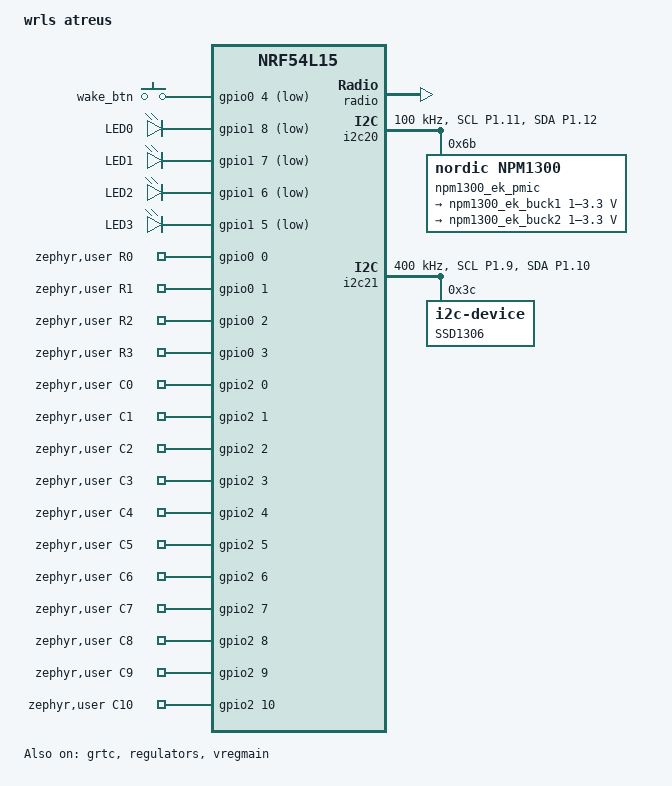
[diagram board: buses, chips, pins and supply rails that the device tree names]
/dts-v1/;
#include <nordic/nrf54l15_cpuapp.dtsi>
#include "wrls_atreus_v1_0-pinctrl.dtsi"

#include <dt-bindings/regulator/npm1300.h>
#include <zephyr/dt-bindings/input/input-event-codes.h>


/ {
	model = "wrls atreus";
	compatible = "paul_klinger,wrls-atreus-v1-0-cpuapp";

	chosen {
		zephyr,code-partition = &slot0_partition;
		zephyr,sram = &cpuapp_sram;
		zephyr,flash = &cpuapp_rram;
		zephyr,console = &uart22;
	};

	buttons {
		compatible = "gpio-keys";
		wakebtn: wake_btn {
			gpios = <&gpio0 4 (GPIO_ACTIVE_LOW | GPIO_PULL_UP)>;
			label = "wake_btn";
		};
	};

	leds {
		compatible = "gpio-leds";
		led0: led0 {
			gpios = <&gpio1 8 GPIO_ACTIVE_LOW>;
			label = "LED0";
		};

		led1: led1 {
			gpios = <&gpio1 7 GPIO_ACTIVE_LOW>;
			label = "LED1";
		};

		led2: led2 {
			gpios = <&gpio1 6 GPIO_ACTIVE_LOW>;
			label = "LED2";
		};

		led3: led3 {
			gpios = <&gpio1 5 GPIO_ACTIVE_LOW>;
			label = "LED3";
		};
	};

	zephyr,user {
		R0-gpios = <&gpio0 0 0>;
		R1-gpios = <&gpio0 1 0>;
		R2-gpios = <&gpio0 2 0>;
		R3-gpios = <&gpio0 3 0>;
		C0-gpios = <&gpio2 0 0>;
		C1-gpios = <&gpio2 1 0>;
		C2-gpios = <&gpio2 2 0>;
		C3-gpios = <&gpio2 3 0>;
		C4-gpios = <&gpio2 4 0>;
		C5-gpios = <&gpio2 5 0>;
		C6-gpios = <&gpio2 6 0>;
		C7-gpios = <&gpio2 7 0>;
		C8-gpios = <&gpio2 8 0>;
		C9-gpios = <&gpio2 9 0>;
		C10-gpios = <&gpio2 10 0>;
	};
};

&cpuapp_sram {
	status = "okay";
};

&grtc {
	owned-channels = <0 1 2 3 4 5 6 7 8 9 10 11>;
	/* Channels 7-11 reserved for Zero Latency IRQs, 3-4 for FLPR */
	child-owned-channels = <3 4 7 8 9 10 11>;
	status = "okay";
};

&cpuapp_rram {
	partitions {
		compatible = "fixed-partitions";
		#address-cells = <1>;
		#size-cells = <1>;
		boot_partition: partition@0 {
			label = "mcuboot";
			reg = <0x0 DT_SIZE_K(64)>;
		};
		slot0_partition: partition@10000 {
			label = "image-0";
			reg = <0x10000 DT_SIZE_K(324)>;
		};
		slot0_ns_partition: partition@61000 {
			label = "image-0-nonsecure";
			reg = <0x61000 DT_SIZE_K(324)>;
		};
		slot1_partition: partition@b2000 {
			label = "image-1";
			reg = <0xb2000 DT_SIZE_K(324)>;
		};
		slot1_ns_partition: partition@103000 {
			label = "image-1-nonsecure";
			reg = <0x103000 DT_SIZE_K(324)>;
		};
		/* 32k from 0x154000 to 0x15bfff reserved for TF-M partitions */
		storage_partition: partition@15c000 {
			label = "storage";
			reg = <0x15c000 DT_SIZE_K(36)>;
		};
	};
};

&regulators {
	status = "okay";
};

&vregmain {
	status = "okay";
	regulator-initial-mode = <NRF5X_REG_MODE_DCDC>;
};

&radio {
	status = "okay";
};

&gpio1 {
	status = "okay";
};

&gpio2 {
	status = "okay";
};

&i2c20 {
	status = "okay";
	pinctrl-0 = <&i2c20_default>;
	pinctrl-names = "default";
	clock-frequency = <I2C_BITRATE_STANDARD>;
	npm1300_ek_pmic: pmic@6b {
		compatible = "nordic,npm1300";
		reg = <0x6b>;


		ship-to-active-time-ms = <32>;


		// long-press-reset = "one_button";


		npm1300_ek_gpio: gpio-controller {
			compatible = "nordic,npm1300-gpio";
			gpio-controller;
			#gpio-cells = <2>;
			ngpios = <5>;
		};

		npm1300_ek_regulators: regulators {
			compatible = "nordic,npm1300-regulator";


			npm1300_ek_buck1: BUCK1 {
				regulator-min-microvolt = <1000000>;
				regulator-max-microvolt = <3300000>;

				retention-microvolt = <1000000>;
			};



			npm1300_ek_buck2: BUCK2 {
				regulator-min-microvolt = <1000000>;
				regulator-max-microvolt = <3300000>;
				regulator-init-microvolt = <3300000>;
				retention-microvolt = <1000000>;
			};



			npm1300_ek_ldo1: LDO1 {
				regulator-initial-mode = <NPM1300_LDSW_MODE_LDSW>;

			};

		};


		npm1300_ek_charger: charger {
			compatible = "nordic,npm1300-charger";
			term-microvolt = <4200000>;
			term-warm-microvolt = <4200000>;
			// term-current-percent = <10>;
			current-microamp = <250000>;
			// trickle-microvolt = <2500000>;
			dischg-limit-microamp = <200000>;
			vbus-limit-microamp = <500000>;
			thermistor-ohms = <0>;
			thermistor-beta = <3380>;

			// disable-recharge;
			charging-enable;

		};


		npm1300_ek_leds: leds {
			compatible = "nordic,npm1300-led";
			nordic,led0-mode = "charging";
			nordic,led1-mode = "host";
			nordic,led2-mode = "host";
			status = "okay";
		};

	};
};

&pinctrl {
	i2c20_default: i2c20_default {

		group2 {
			psels = <NRF_PSEL(TWIM_SCL, 1, 11)>, <NRF_PSEL(TWIM_SDA, 1, 12)>;
			bias-pull-up;
		};
	};

	i2c21_default: i2c21_default {

		group2 {
			psels = <NRF_PSEL(TWIM_SCL, 1, 9)>, <NRF_PSEL(TWIM_SDA, 1, 10)>;
			bias-pull-up;
		};
	};

	uart22_default: uart22_default {
		group1 {
			psels = <NRF_PSEL(UART_RX, 1, 3)>, <NRF_PSEL(UART_TX, 1, 4)>;
		};
	};
};

&cpuflpr_vpr {
	status = "disabled";
};

&vregmain {
	status = "okay";
};

&clock {
	status = "okay";
};

&adc {
	status = "disabled";
};

&gpio0 {
	status = "okay";
};

&i2c21 {
	display: display@3C {
		compatible = "i2c-device";
		reg = <0x3C>;
		label = "SSD1306";
	};

	status = "okay";
	clock-frequency = <I2C_BITRATE_FAST>;
	pinctrl-0 = <&i2c21_default>;
	pinctrl-names = "default";
	zephyr,concat-buf-size = <0x2048>;
	zephyr,flash-buf-max-size = <0x2048>;
	compatible = "nordic,nrf-twim";
};
&gpiote30 {
	status = "okay";
};

&gpiote20 {
	status = "okay";
};

&uart22 {
	compatible = "nordic,nrf-uarte";
	status = "disabled";
	current-speed = <115200>;
	pinctrl-0 = <&uart22_default>;
	pinctrl-names = "default";
};
